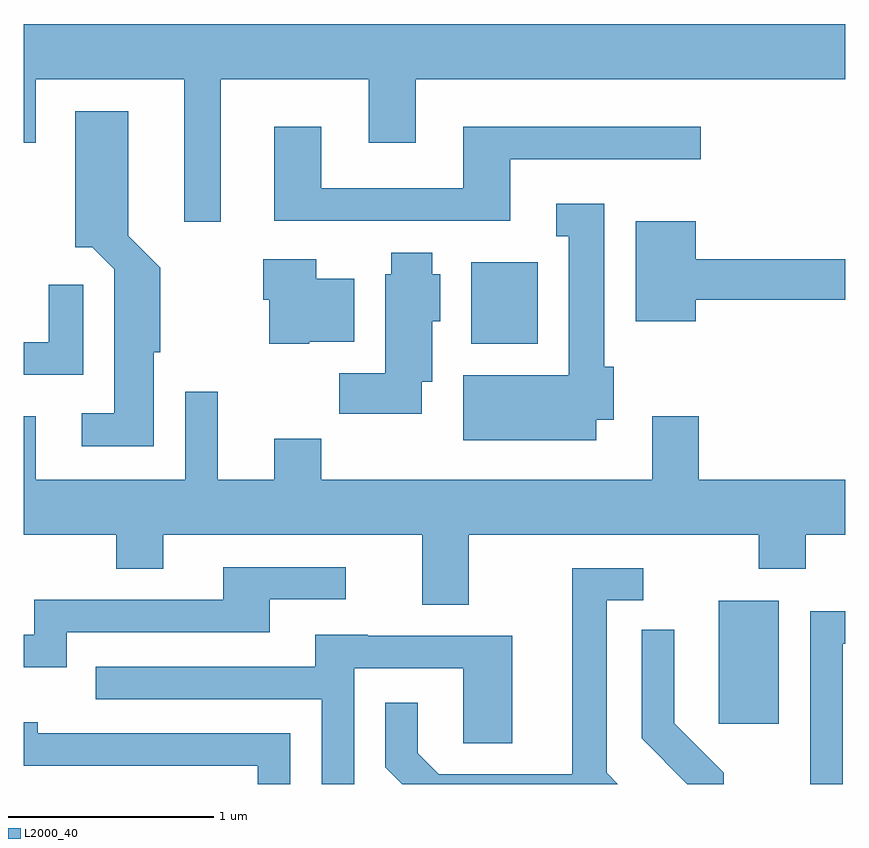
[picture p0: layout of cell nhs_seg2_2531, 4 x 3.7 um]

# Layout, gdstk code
import gdstk
lib = gdstk.Library(unit=1e-6, precision=1e-09)
def R(c, l, rs):  # rectangles x0, y0, x1, y1
    for r in rs: c.add(gdstk.rectangle(r[:2], r[2:], *l))
def P(c, l, *ps):  # polygons
    for p in ps: c.add(gdstk.Polygon(p, *l))
L2000_40 = (2000, 40)

nhs_seg2_2531 = lib.new_cell('nhs_seg2_2531')
R(nhs_seg2_2531, L2000_40, [(262.996,1014.096,263.289,1014.694), (261.791,1015.946,262.114,1016.344)])
P(nhs_seg2_2531, L2000_40, [(260.569,1017.236),(261.291,1017.236),(261.291,1016.926),(261.519,1016.926),(261.519,1017.236),(263.611,1017.236),(263.611,1017.504),(259.611,1017.504),(259.611,1016.926),(259.669,1016.926),(259.669,1017.236),(260.391,1017.236),(260.391,1016.541),(260.569,1016.541)],
  [(260.244,1015.906),(260.274,1015.906),(260.274,1016.317),(260.119,1016.472),(260.119,1017.079),(259.861,1017.079),(259.861,1016.416),(259.944,1016.416),(260.051,1016.309),(260.051,1015.609),(259.892,1015.609),(259.892,1015.446),(260.244,1015.446)],
  [(261.979,1016.846),(262.908,1016.846),(262.908,1017.004),(261.751,1017.004),(261.751,1016.704),(261.059,1016.704),(261.059,1017.004),(260.831,1017.004),(260.831,1016.546),(261.979,1016.546)],
  [(262.399,1015.576),(262.484,1015.576),(262.484,1015.834),(262.439,1015.834),(262.439,1016.629),(262.203,1016.629),(262.203,1016.471),(262.266,1016.471),(262.266,1015.794),(261.751,1015.794),(261.751,1015.476),(262.399,1015.476)],
  [(262.884,1016.161),(263.611,1016.161),(263.611,1016.359),(262.884,1016.359),(262.884,1016.544),(262.591,1016.544),(262.591,1016.056),(262.884,1016.056)],
  [(261.549,1015.761),(261.599,1015.761),(261.599,1016.056),(261.639,1016.056),(261.639,1016.284),(261.599,1016.284),(261.599,1016.389),(261.401,1016.389),(261.401,1016.284),(261.371,1016.284),(261.371,1015.804),(261.146,1015.804),(261.146,1015.606),(261.549,1015.606)],
  [(261,1015.956),(261.219,1015.956),(261.219,1016.264),(261.034,1016.264),(261.034,1016.359),(260.776,1016.359),(260.776,1016.161),(260.806,1016.161),(260.806,1015.946),(261,1015.946)],
  [(259.899,1016.233),(259.731,1016.233),(259.731,1015.954),(259.611,1015.954),(259.611,1015.796),(259.899,1015.796)],
  [(260.396,1015.713),(260.396,1015.284),(259.669,1015.284),(259.669,1015.594),(259.611,1015.594),(259.611,1015.016),(260.061,1015.016),(260.061,1014.851),(260.289,1014.851),(260.289,1015.016),(261.551,1015.016),(261.551,1014.676),(261.779,1014.676),(261.779,1015.016),(263.191,1015.016),(263.191,1014.851),(263.419,1014.851),(263.419,1015.016),(263.611,1015.016),(263.611,1015.284),(262.899,1015.284),(262.899,1015.594),(262.671,1015.594),(262.671,1015.284),(261.059,1015.284),(261.059,1015.484),(260.831,1015.484),(260.831,1015.284),(260.554,1015.284),(260.554,1015.713)],
  [(259.819,1014.541),(260.809,1014.541),(260.809,1014.701),(261.178,1014.701),(261.178,1014.859),(260.581,1014.859),(260.581,1014.699),(259.661,1014.699),(259.661,1014.529),(259.611,1014.529),(259.611,1014.371),(259.819,1014.371)],
  [(262.449,1013.857),(262.449,1014.696),(262.628,1014.696),(262.628,1014.854),(262.281,1014.854),(262.281,1013.849),(261.632,1013.849),(261.529,1013.952),(261.529,1014.198),(261.371,1014.198),(261.371,1013.884),(261.453,1013.802),(262.504,1013.802)],
  [(263.599,1014.486),(263.611,1014.486),(263.611,1014.644),(263.441,1014.644),(263.441,1013.802),(263.599,1013.802)],
  [(263.019,1013.857),(262.779,1014.097),(262.779,1014.553),(262.621,1014.553),(262.621,1014.024),(262.843,1013.802),(263.019,1013.802)],
  [(261.219,1014.366),(261.751,1014.366),(261.751,1014.001),(261.989,1014.001),(261.989,1014.524),(261.285,1014.524),(261.285,1014.529),(261.031,1014.529),(261.031,1014.374),(259.962,1014.374),(259.962,1014.216),(261.061,1014.216),(261.061,1013.802),(261.219,1013.802)],
  [(260.909,1014.049),(259.679,1014.049),(259.679,1014.104),(259.611,1014.104),(259.611,1013.891),(260.751,1013.891),(260.751,1013.802),(260.909,1013.802)])

lib.write_gds('nhs_seg2_2531.gds')
